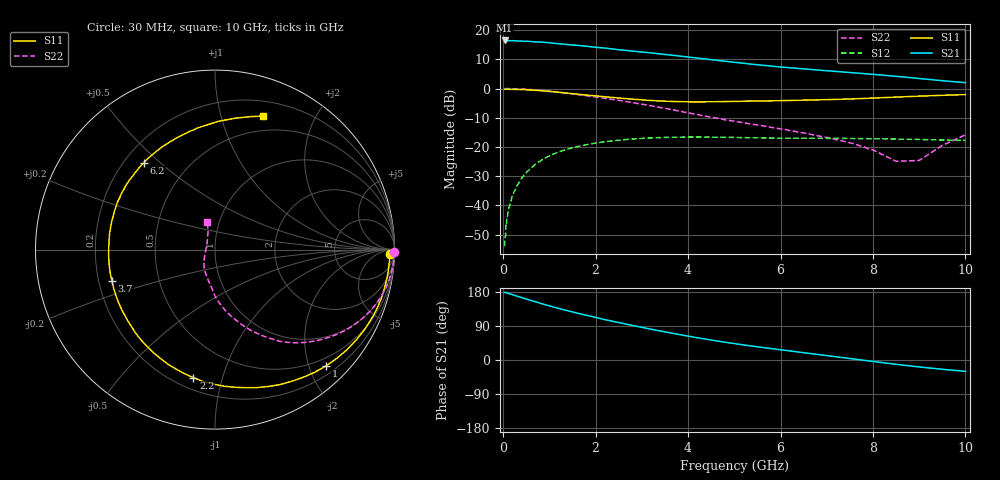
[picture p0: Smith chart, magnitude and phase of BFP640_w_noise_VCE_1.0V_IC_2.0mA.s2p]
! Infineon Technologies  Discrete & RF Semiconductors
! BFP640
! VCE =  1.0 V,  IC =  2.0 mA
! Common Emitter S-Parameters:  Apr 2013
# GHz  S  MA  R  50
!  f  S11  S21  S12  S22
! GHz  MAG  ANG  MAG  ANG  MAG  ANG  MAG  ANG
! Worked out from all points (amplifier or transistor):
!   99 points, 30 MHz to 10 GHz, reference 50 ohm
!   highest |S21| = 16.5 dB at 30 MHz (marker M1)
!   |S21| within 3 dB of that: start of sweep to 2.418 GHz
!   unconditionally stable (mu >= 1): 6.537 GHz to end of sweep
!   at 350 MHz: K = 0.02, MSG = 24.1 dB, |S12| = -32.0 dB
!   at 3.5 GHz: K = 0.55, MSG = 14.2 dB, |S12| = -16.7 dB
!   at 10 GHz: K = 1.26, MAG = 6.8 dB, |S12| = -17.7 dB
!   lowest NFmin = 0.53 dB at 450 MHz
!   S11 on the Smith chart (normalised r, x): 30 MHz: 41, -38; 1 GHz: 0.35, -2.29; 2.2 GHz: 0.27, -0.81; 3.7 GHz: 0.26, -0.14; 6.2 GHz: 0.28, +0.44; 10 GHz: 0.34, +1.36
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0.03  0.9743 -1.4  6.674 178.5  0.002 96.8  0.9985 -0.8
0.04  0.9747 -1.8  6.468 178.2  0.0028 86.5  0.9989 -1.1
0.05  0.976 -2.2  6.57 178.1  0.003 105.9  0.9977 -1.4
0.06  0.9754 -2.7  6.579 177.5  0.0048 94.4  0.998 -1.6
0.08  0.9742 -3.7  6.559 176.7  0.0063 90.6  0.9993 -2.1
0.12  0.9727 -5.6  6.632 175.3  0.0089 86.1  0.9978 -3.3
0.3  0.9675 -13.9  6.566 168.4  0.0219 82.6  0.9886 -8.2
0.6  0.9458 -27.8  6.393 157.1  0.0436 74.2  0.9599 -16.2
1  0.8954 -46.4  6.101 142.9  0.0705 62.0  0.9 -26.0
1.3  0.8491 -59.8  5.776 132.9  0.0873 53.8  0.8461 -32.6
1.7  0.7881 -77.6  5.415 120.8  0.1054 44.0  0.7728 -40.5
2.2  0.7233 -99.6  4.949 106.5  0.1232 33.1  0.6821 -49.6
2.8  0.6584 -125.2  4.395 91.1  0.1368 21.8  0.5758 -58.7
3.4  0.6141 -150.7  3.915 76.6  0.1448 11.9  0.4742 -67.6
3.7  0.6 -163.2  3.704 69.6  0.1471 7.4  0.4282 -71.7
4.3  0.5925 174.4  3.264 56.7  0.1476 -0.6  0.3446 -80.3
5.1  0.6049 151.1  2.773 41.5  0.1452 -8.8  0.2681 -88.9
6.2  0.6254 129.3  2.276 24.0  0.1412 -16.4  0.1912 -98.9
6.7  0.6382 120.3  2.115 16.2  0.1409 -19.7  0.161 -105.6
8.5  0.7152 88.4  1.624 -11.4  0.1367 -30.7  0.0569 -162.5
9  0.7421 80.9  1.49 -18.3  0.1345 -33.0  0.0588 138.1
10  0.7894 70.4  1.262 -30.0  0.1297 -36.1  0.1613 105.2
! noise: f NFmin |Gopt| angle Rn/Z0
0.45  0.53  0.6  13  0.24
0.9  0.57  0.61  23  0.23
1.5  0.69  0.53  39  0.22
1.9  0.75  0.48  53  0.21
2.4  0.82  0.45  63  0.2
3.5  0.97  0.38  91  0.18
5.5  1.34  0.35  -173  0.18
10  2.34  0.67  -68  0.71
